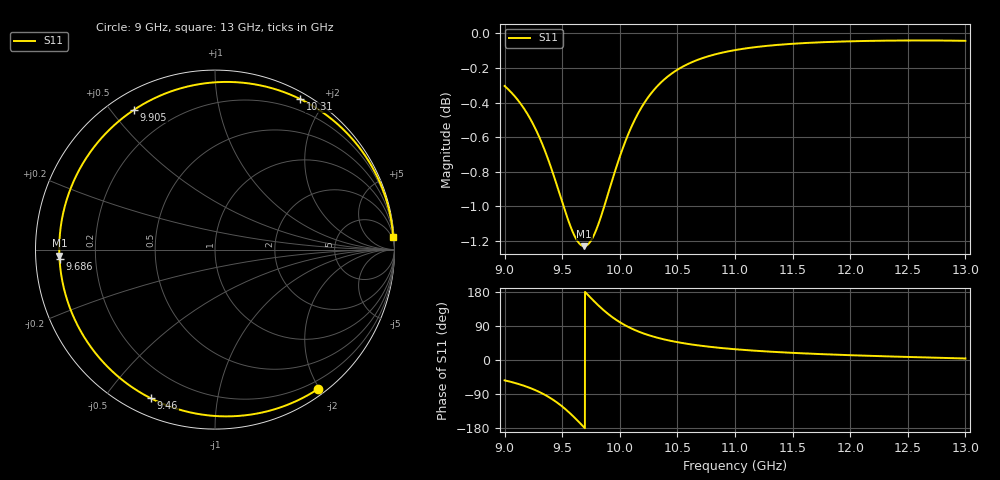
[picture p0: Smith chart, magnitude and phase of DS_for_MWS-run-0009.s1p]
! TOUCHSTONE file generated by CST DESIGN STUDIO
! Date and time: Tue Feb  4 18:30:43 2025
! Project name: C:\Work\MatlabApps\UnitCellOptimizationMatlab\CST\unitcell.cst
! Tree item: Tasks\Sweep1\SPara1\S-Parameters
! Header version: 2024
! Port assignment regex: !\s*Touchstone port\s*([0-9]+)\s*=\s*(CST MWS port|CST DES external port|CST DES block port)\s*(.+)\s* \(\"(.*)\"\)(\s*mode\s*([0-9]+))?.*
! Touchstone port assignment:
! Touchstone port 1 = CST DES external port 1 ("")
# GHz S MA R 50
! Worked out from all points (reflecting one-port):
!   4001 points, 9 GHz to 13 GHz, reference 50 ohm
!   lowest |S11| = -1.2 dB at 9.69 GHz (marker M1), VSWR 14.13, Z = 3.54 - j0.967 ohm
!   phase of S11 starts at -54 deg and turns -302 deg over the sweep
!   S11 on the Smith chart (normalised r, x): 9 GHz: 0.09, -1.97; 9.46 GHz: 0.07, -0.66; 9.686 GHz: 0.07, -0.03; 9.905 GHz: 0.07, +0.58; 10.31 GHz: 0.07, +1.71; 13 GHz: 2, +29
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9  0.9656 -53.7
9.122  0.9559 -63.5
9.239  0.9425 -76.0
9.363  0.9224 -94.2
9.46  0.9024 -113.3
9.5  0.8937 -122.6
9.552  0.883 -136.2
9.605  0.8741 -151.4
9.647  0.8695 -164.2
9.686  0.8678 -176.5
9.69  0.8678 -177.8
9.735  0.8696 168.0
9.783  0.8753 153.2
9.845  0.8868 135.3
9.905  0.9002 120.0
9.951  0.9106 109.6
10  0.9212 99.8
10.067  0.934 88.2
10.148  0.9467 76.8
10.224  0.956 68.2
10.306  0.9639 60.5
10.5  0.9761 47.1
10.719  0.9837 37.0
11  0.989 28.4
11.5  0.9931 18.8
12  0.9948 12.7
12.5  0.9953 8.0
13  0.9951 4.0
